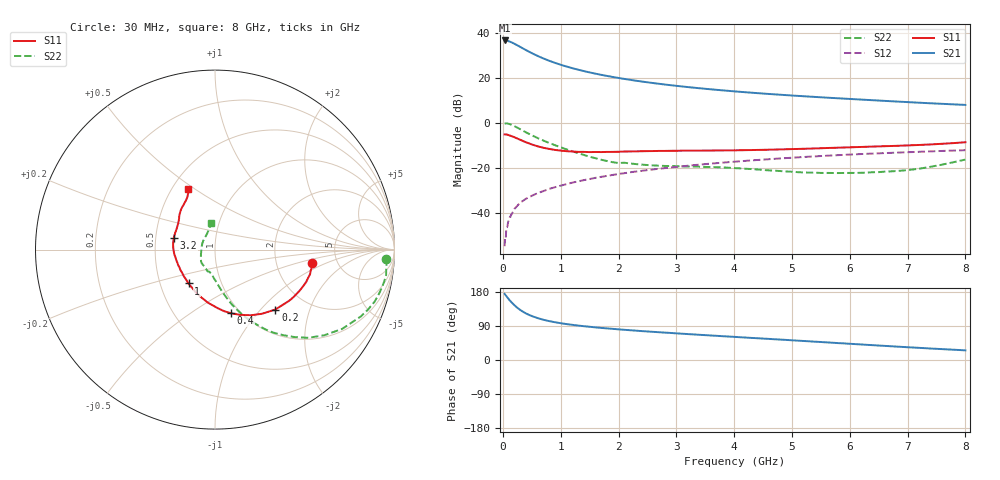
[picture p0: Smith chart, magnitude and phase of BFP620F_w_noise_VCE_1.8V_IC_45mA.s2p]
! Infineon Technologies  Discrete & RF Semiconductors
! BFP620F
! VCE =  1.8 V,  IC =  45 mA
! Common Emitter S-Parameters:  Dec 2014
# GHz  S  MA  R  50
!  f  S11  S21  S12  S22
! GHz  MAG  ANG  MAG  ANG  MAG  ANG  MAG  ANG
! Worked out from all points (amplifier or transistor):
!   95 points, 30 MHz to 8 GHz, reference 50 ohm
!   highest |S21| = 36.5 dB at 30 MHz (marker M1)
!   |S21| within 3 dB of that: start of sweep to 309.5 MHz
!   unconditionally stable (mu >= 1): 2.029 GHz to end of sweep
!   at 300 MHz: K = 0.47, MSG = 34.6 dB, |S12| = -35.5 dB
!   at 3.3 GHz: K = 1.03, MAG = 16.2 dB, |S12| = -18.9 dB
!   at 8 GHz: K = 1.05, MAG = 8.6 dB, |S12| = -12.2 dB
!   lowest NFmin = 1.45 dB at 450 MHz
!   S11 on the Smith chart (normalised r, x): 30 MHz: 3.26, -0.70; 200 MHz: 1.40, -1.21; 400 MHz: 0.91, -0.74; 1 GHz: 0.70, -0.28; 3.2 GHz: 0.62, +0.08; 8 GHz: 0.60, +0.47
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0.03  0.5481 -7.9  66.95 174.6  0.0018 102.6  0.952 -3.0
0.07  0.542 -17.0  66.16 166.6  0.0047 91.3  0.9595 -10.6
0.12  0.5165 -28.8  62.93 157.1  0.008 85.8  0.924 -19.9
0.15  0.5011 -34.9  60.79 152.1  0.0091 81.5  0.8932 -24.7
0.2  0.4737 -44.8  56.49 144.5  0.0121 73.4  0.8345 -32.0
0.25  0.4434 -53.7  52.27 137.8  0.0142 72.4  0.7735 -38.1
0.3  0.416 -61.7  48.16 132.1  0.0168 71.2  0.7153 -43.4
0.35  0.3892 -69.0  44.27 127.2  0.0184 69.8  0.6591 -47.7
0.4  0.3663 -75.8  40.87 122.9  0.0204 69.2  0.6086 -51.5
0.5  0.3272 -87.2  35 116.0  0.0237 68.8  0.5247 -57.8
0.6  0.2983 -97.6  30.36 110.6  0.0271 68.3  0.455 -62.7
0.7  0.2763 -106.3  26.7 106.2  0.0301 68.2  0.3997 -66.8
0.8  0.2609 -114.4  23.73 102.7  0.0337 68.1  0.3538 -70.1
1  0.2396 -128.0  19.33 97.1  0.0397 67.9  0.2835 -75.8
1.4  0.2239 -148.9  13.98 89.2  0.0528 67.3  0.1916 -85.9
1.9  0.2239 -167.3  10.34 82.2  0.0689 65.9  0.1321 -101.3
2.7  0.2351 173.6  7.296 73.3  0.0947 61.8  0.1104 -123.8
3.2  0.2381 164.6  6.166 68.4  0.1103 59.1  0.1061 -132.7
4.1  0.2435 151.3  4.842 60.1  0.1383 53.7  0.0964 -144.6
5.4  0.2675 138.4  3.724 48.3  0.178 44.7  0.0773 -175.7
6.7  0.3021 126.3  2.996 36.4  0.2128 35.2  0.0825 141.0
8  0.3669 113.8  2.476 25.4  0.2444 26.0  0.1512 97.9
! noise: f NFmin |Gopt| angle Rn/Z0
0.45  1.45  0.18  -172  0.16
0.9  1.48  0.18  -172  0.14
1.5  1.49  0.23  -153  0.1
1.8  1.5  0.23  -152  0.1
1.9  1.5  0.23  -151  0.11
2.4  1.52  0.24  213  0.12
3.5  1.58  0.24  220  0.15
5.5  1.72  0.29  248  0.19
6  1.76  0.29  261  0.24
